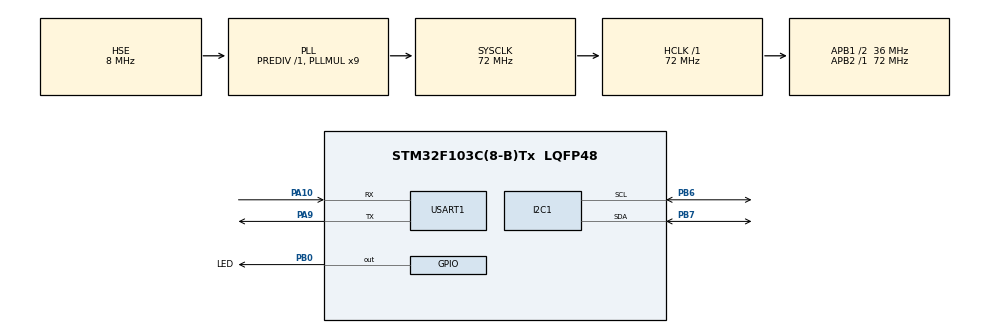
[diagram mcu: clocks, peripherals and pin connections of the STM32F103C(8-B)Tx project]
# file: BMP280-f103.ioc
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Mcu.Family=STM32F1
Mcu.Name=STM32F103C(8-B)Tx
Mcu.Package=LQFP48
NVIC.PriorityGroup=NVIC_PRIORITYGROUP_4
PA10.Mode=Asynchronous
PA10.Signal=USART1_RX
PA13.Mode=Serial_Wire
PA13.Signal=SYS_JTMS-SWDIO
PA14.Mode=Serial_Wire
PA14.Signal=SYS_JTCK-SWCLK
PA9.Mode=Asynchronous
PA9.Signal=USART1_TX
PB0.GPIO_Label=LED
PB0.Signal=GPIO_Output
PB6.GPIO_Pu=GPIO_PULLUP
PB6.Mode=I2C
PB6.Signal=I2C1_SCL
PB7.GPIO_Pu=GPIO_PULLUP
PB7.Mode=I2C
PB7.Signal=I2C1_SDA
PD0-OSC_IN.Mode=HSE-External-Oscillator
PD0-OSC_IN.Signal=RCC_OSC_IN
PD1-OSC_OUT.Mode=HSE-External-Oscillator
PD1-OSC_OUT.Signal=RCC_OSC_OUT
ProjectManager.HeapSize=0x200
ProjectManager.StackSize=0x400
ProjectManager.TargetToolchain=STM32CubeIDE
RCC.AHBFreq_Value=72000000
RCC.APB1CLKDivider=RCC_HCLK_DIV2
RCC.APB1Freq_Value=36000000
RCC.APB1TimFreq_Value=72000000
RCC.APB2Freq_Value=72000000
RCC.APB2TimFreq_Value=72000000
RCC.HCLKFreq_Value=72000000
RCC.PLLMUL=RCC_PLL_MUL9
RCC.PLLSourceVirtual=RCC_PLLSOURCE_HSE
RCC.SYSCLKFreq_VALUE=72000000
RCC.SYSCLKSource=RCC_SYSCLKSOURCE_PLLCLK
RCC.USBFreq_Value=72000000
USART1.VirtualMode=VM_ASYNC
board=custom

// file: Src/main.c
/* USER CODE BEGIN Header */
/**
  ******************************************************************************
  * @file           : main.c
  * @brief          : Main program body
  ******************************************************************************
  * @attention
  *
  * <h2><center>&copy; Copyright (c) 2019 STMicroelectronics.
  * All rights reserved.</center></h2>
  *
  * This software component is licensed by ST under BSD 3-Clause license,
  * the "License"; You may not use this file except in compliance with the
  * License. You may obtain a copy of the License at:
  *                        opensource.org/licenses/BSD-3-Clause
  *
  ******************************************************************************
  */
/* USER CODE END Header */
#include "main.h"
#include "i2c.h"
#include "usart.h"
#include "gpio.h"

/* USER CODE BEGIN Includes */

	#include <string.h>
	#include <stdio.h>
	#include "bmp280_sm.h"
	#include "i2c_techmaker_sm.h"

/* USER CODE END Includes */

/* USER CODE BEGIN PD */

	/* Current pressure at sealevel in hPa taken from http://www.aviador.es/Weather/Meteogram/UKKK */
	#define QNH 1012

/* USER CODE END PD */

/* USER CODE BEGIN PV */

	char DataChar[100];
	double temp, press, alt;
	int8_t com_rslt;

/* USER CODE END PV */

void SystemClock_Config(void);
/* USER CODE BEGIN PFP */

void Check_RDP_Level_1(void);

/* USER CODE END PFP */

int main(void)
{

  /* MCU Configuration--------------------------------------------------------*/

  /* Reset of all peripherals, Initializes the Flash interface and the Systick. */
  HAL_Init();

  /* Configure the system clock */
  SystemClock_Config();

  /* Initialize all configured peripherals */
  MX_GPIO_Init();
  MX_I2C1_Init();
  MX_USART1_UART_Init();
  /* USER CODE BEGIN 2 */

	sprintf(DataChar,"\r\n\r\n\t BMP280-f103\r\n");HAL_UART_Transmit(&huart1, (uint8_t *)DataChar, strlen(DataChar), 100);
	sprintf(DataChar,"\t UART1 (PA9) for debug 115200\r\n");HAL_UART_Transmit(&huart1, (uint8_t *)DataChar, strlen(DataChar), 100);

    Check_RDP_Level_1();

	I2C_ScanBusFlow(&hi2c1, &huart1);

	/* Start BMP280 and change settings */
	sprintf(DataChar,"Connecting to BMP280... ");
	HAL_UART_Transmit(&huart1, (uint8_t *)DataChar, strlen(DataChar), 100);

	bmp280_t bmp280;
	bmp280.i2c_handle = &hi2c1;
	bmp280.dev_addr = BMP280_I2C_ADDRESS1;
	com_rslt = BMP280_init(&bmp280);
	com_rslt += BMP280_set_power_mode(BMP280_NORMAL_MODE);
	com_rslt += BMP280_set_work_mode(BMP280_STANDARD_RESOLUTION_MODE);
	com_rslt += BMP280_set_standby_durn(BMP280_STANDBY_TIME_1_MS);
	if (com_rslt != SUCCESS) {
		sprintf(DataChar,"check BMP280 connection!\r\nProgram terminate\r\n");
		HAL_UART_Transmit(&huart1, (uint8_t *)DataChar, strlen(DataChar), 100);
		return 0;
	}
	sprintf(DataChar,"connection successful!\r\n");
	HAL_UART_Transmit(&huart1, (uint8_t *)DataChar, strlen(DataChar), 100);

  /* USER CODE END 2 */

  /* Infinite loop */
  /* USER CODE BEGIN WHILE */
  while (1)
  {
	  HAL_GPIO_TogglePin(LED_GPIO_Port, LED_Pin);
	  HAL_Delay(1000);

		/* Read temperature and pressure */
		BMP280_read_temperature_double(&temp);
		BMP280_read_pressure_double(&press);
		/* Calculate current altitude, based on current QNH pressure */
		alt = BMP280_calculate_altitude(QNH * 100);

		//LCD_Printf("Temp : %6.2f C\n", temp);
		sprintf(DataChar,"Temp: %2.2f C ", temp);
		HAL_UART_Transmit(&huart1, (uint8_t *)DataChar, strlen(DataChar), 100);

		//LCD_Printf("Press: %6.0f Pa\n", press);
		sprintf(DataChar,"Press: %6.0f Pa ", press);
		HAL_UART_Transmit(&huart1, (uint8_t *)DataChar, strlen(DataChar), 100);

		//LCD_Printf("Alt  : %3.0f m", alt);
		sprintf(DataChar,"Alt: %3.0f m\r\n", alt);
		HAL_UART_Transmit(&huart1, (uint8_t *)DataChar, strlen(DataChar), 100);

    /* USER CODE END WHILE */

  }
}

void SystemClock_Config(void)
{
  RCC_OscInitTypeDef RCC_OscInitStruct = {0};
  RCC_ClkInitTypeDef RCC_ClkInitStruct = {0};

  /** Initializes the RCC Oscillators according to the specified parameters
  * in the RCC_OscInitTypeDef structure.
  */
  RCC_OscInitStruct.OscillatorType = RCC_OSCILLATORTYPE_HSE;
  RCC_OscInitStruct.HSEState = RCC_HSE_ON;
  RCC_OscInitStruct.HSEPredivValue = RCC_HSE_PREDIV_DIV1;
  RCC_OscInitStruct.HSIState = RCC_HSI_ON;
  RCC_OscInitStruct.PLL.PLLState = RCC_PLL_ON;
  RCC_OscInitStruct.PLL.PLLSource = RCC_PLLSOURCE_HSE;
  RCC_OscInitStruct.PLL.PLLMUL = RCC_PLL_MUL9;
  if (HAL_RCC_OscConfig(&RCC_OscInitStruct) != HAL_OK)
  {
    Error_Handler();
  }

  /** Initializes the CPU, AHB and APB buses clocks
  */
  RCC_ClkInitStruct.ClockType = RCC_CLOCKTYPE_HCLK|RCC_CLOCKTYPE_SYSCLK
                              |RCC_CLOCKTYPE_PCLK1|RCC_CLOCKTYPE_PCLK2;
  RCC_ClkInitStruct.SYSCLKSource = RCC_SYSCLKSOURCE_PLLCLK;
  RCC_ClkInitStruct.AHBCLKDivider = RCC_SYSCLK_DIV1;
  RCC_ClkInitStruct.APB1CLKDivider = RCC_HCLK_DIV2;
  RCC_ClkInitStruct.APB2CLKDivider = RCC_HCLK_DIV1;

  if (HAL_RCC_ClockConfig(&RCC_ClkInitStruct, FLASH_LATENCY_2) != HAL_OK)
  {
    Error_Handler();
  }
}

/* USER CODE BEGIN 4 */

void Check_RDP_Level_1(void)
{
    FLASH_OBProgramInitTypeDef 			obInit;
    HAL_FLASH_Unlock();					// Розблоковуємо FLASH
    HAL_FLASH_OB_Unlock();				// Розблоковуємо Option Bytes
    HAL_FLASHEx_OBGetConfig(&obInit);	// Читаємо поточні налаштування

    if (obInit.RDPLevel == OB_RDP_LEVEL_1) {
        HAL_FLASH_OB_Lock();
        HAL_FLASH_Lock();
    	sprintf(DataChar,"RDP.Ok \r\n"); HAL_UART_Transmit(&huart1, (uint8_t *)DataChar, strlen(DataChar), 100);
    } else {
    	sprintf(DataChar,"RDP.not.set -> set.RDP_Level_1\r\n"); HAL_UART_Transmit(&huart1, (uint8_t *)DataChar, strlen(DataChar), 100);
		sprintf(DataChar,">>> Restart device! <<< \r\n"); HAL_UART_Transmit(&huart1, (uint8_t *)DataChar, strlen(DataChar), 100);
        obInit.OptionType = OPTIONBYTE_RDP;
        obInit.RDPLevel = OB_RDP_LEVEL_1;
		if (HAL_FLASHEx_OBProgram(&obInit) == HAL_OK) {
			HAL_FLASH_OB_Launch();
		}
    }
}

/* USER CODE END 4 */

void Error_Handler(void)
{
}
